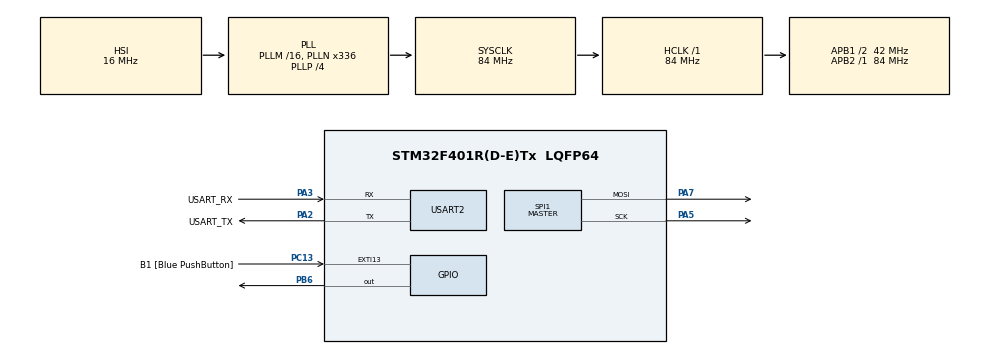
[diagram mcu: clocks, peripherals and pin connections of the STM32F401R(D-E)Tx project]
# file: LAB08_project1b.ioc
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Dma.Request0=SPI1_TX
Dma.SPI1_TX.0.Direction=DMA_MEMORY_TO_PERIPH
Dma.SPI1_TX.0.FIFOMode=DMA_FIFOMODE_DISABLE
Dma.SPI1_TX.0.Instance=DMA2_Stream3
Dma.SPI1_TX.0.MemDataAlignment=DMA_MDATAALIGN_BYTE
Dma.SPI1_TX.0.MemInc=DMA_MINC_ENABLE
Dma.SPI1_TX.0.Mode=DMA_NORMAL
Dma.SPI1_TX.0.PeriphDataAlignment=DMA_PDATAALIGN_BYTE
Dma.SPI1_TX.0.PeriphInc=DMA_PINC_DISABLE
Dma.SPI1_TX.0.Priority=DMA_PRIORITY_LOW
Mcu.Family=STM32F4
Mcu.Name=STM32F401R(D-E)Tx
Mcu.Package=LQFP64
NVIC.DMA2_Stream3_IRQn=true\:0\:0\:false\:false\:true\:false\:true\:true
NVIC.PriorityGroup=NVIC_PRIORITYGROUP_0
NVIC.SPI1_IRQn=true\:0\:0\:false\:false\:true\:true\:true\:true
NVIC.TIM3_IRQn=true\:0\:0\:false\:false\:true\:true\:true\:true
PA13.GPIO_Label=TMS
PA13.Mode=Serial_Wire
PA13.Signal=SYS_JTMS-SWDIO
PA14.GPIO_Label=TCK
PA14.Mode=Serial_Wire
PA14.Signal=SYS_JTCK-SWCLK
PA2.GPIO_Label=USART_TX
PA2.GPIO_Mode=GPIO_MODE_AF_PP
PA2.GPIO_PuPd=GPIO_NOPULL
PA2.GPIO_Speed=GPIO_SPEED_FREQ_LOW
PA2.Mode=Asynchronous
PA2.Signal=USART2_TX
PA3.GPIO_Label=USART_RX
PA3.GPIO_Mode=GPIO_MODE_AF_PP
PA3.GPIO_PuPd=GPIO_NOPULL
PA3.GPIO_Speed=GPIO_SPEED_FREQ_LOW
PA3.Mode=Asynchronous
PA3.Signal=USART2_RX
PA5.Mode=TX_Only_Simplex_Unidirect_Master
PA5.Signal=SPI1_SCK
PA7.Mode=TX_Only_Simplex_Unidirect_Master
PA7.Signal=SPI1_MOSI
PB3.GPIO_Label=SWO
PB3.Signal=SYS_JTDO-SWO
PB6.Signal=GPIO_Output
PC13-ANTI_TAMP.GPIO_Label=B1 [Blue PushButton]
PC13-ANTI_TAMP.GPIO_ModeDefaultEXTI=GPIO_MODE_IT_FALLING
PC13-ANTI_TAMP.GPIO_PuPd=GPIO_NOPULL
PC13-ANTI_TAMP.Signal=GPXTI13
PC14-OSC32_IN.Mode=LSE-External-Oscillator
PC14-OSC32_IN.Signal=RCC_OSC32_IN
PC15-OSC32_OUT.Mode=LSE-External-Oscillator
PC15-OSC32_OUT.Signal=RCC_OSC32_OUT
PH0\ -\ OSC_IN.Mode=HSE-External-Clock-Source
PH0\ -\ OSC_IN.Signal=RCC_OSC_IN
PH1\ -\ OSC_OUT.Mode=HSE-External-Clock-Source
PH1\ -\ OSC_OUT.Signal=RCC_OSC_OUT
ProjectManager.HeapSize=0x200
ProjectManager.StackSize=0x400
ProjectManager.TargetToolchain=STM32CubeIDE
RCC.48MHZClocksFreq_Value=48000000
RCC.AHBFreq_Value=84000000
RCC.APB1CLKDivider=RCC_HCLK_DIV2
RCC.APB1Freq_Value=42000000
RCC.APB1TimFreq_Value=84000000
RCC.APB2Freq_Value=84000000
RCC.APB2TimFreq_Value=84000000
RCC.CortexFreq_Value=84000000
RCC.HCLKFreq_Value=84000000
RCC.HSE_VALUE=8000000
RCC.HSI_VALUE=16000000
RCC.PLLN=336
RCC.PLLP=RCC_PLLP_DIV4
RCC.PLLQ=7
RCC.SYSCLKFreq_VALUE=84000000
RCC.SYSCLKSource=RCC_SYSCLKSOURCE_PLLCLK
RCC.VCOOutputFreq_Value=336000000
SPI1.BaudRatePrescaler=SPI_BAUDRATEPRESCALER_4
SPI1.Direction=SPI_DIRECTION_2LINES
SPI1.Mode=SPI_MODE_MASTER
SPI1.VirtualType=VM_MASTER
TIM3.Period=40-1
TIM3.Prescaler=8400-1
TIM3.TIM_MasterOutputTrigger=TIM_TRGO_RESET
TIM3.TIM_MasterSlaveMode=TIM_MASTERSLAVEMODE_DISABLE
USART2.VirtualMode=VM_ASYNC
VP_TIM3_VS_ClockSourceINT.Mode=Internal
board=NUCLEO-F401RE

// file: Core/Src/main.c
/* USER CODE BEGIN Header */
/**
  ******************************************************************************
  * @file           : main.c
  * @brief          : Main program body
  ******************************************************************************
  * @attention
  *
  * Copyright (c) 2023 STMicroelectronics.
  * All rights reserved.
  *
  * This software is licensed under terms that can be found in the LICENSE file
  * in the root directory of this software component.
  * If no LICENSE file comes with this software, it is provided AS-IS.
  *
  ******************************************************************************
  */
/* USER CODE END Header */
#include "main.h"

SPI_HandleTypeDef hspi1;
DMA_HandleTypeDef hdma_spi1_tx;

TIM_HandleTypeDef htim3;

UART_HandleTypeDef huart2;

void SystemClock_Config(void);
static void MX_GPIO_Init(void);
static void MX_DMA_Init(void);
static void MX_USART2_UART_Init(void);
static void MX_SPI1_Init(void);
static void MX_TIM3_Init(void);

/* USER CODE BEGIN 0 */
int column_shift=0;
int counter_cycle=0;
int flag_E=1;
int flag_L=0;
uint8_t matrix_EL[10][2]= {
		{127, 16},
		{73, 8},
		{73, 4},
		{65, 2},
		{65, 1},
		{127, 16},
		{1, 8},
		{1, 4},
		{1, 2},
		{1, 1},
};
/* USER CODE END 0 */

int main(void)
{

  /* MCU Configuration--------------------------------------------------------*/

  /* Reset of all peripherals, Initializes the Flash interface and the Systick. */
  HAL_Init();

  /* Configure the system clock */
  SystemClock_Config();

  /* Initialize all configured peripherals */
  MX_GPIO_Init();
  MX_DMA_Init();
  MX_USART2_UART_Init();
  MX_SPI1_Init();
  MX_TIM3_Init();
  /* USER CODE BEGIN 2 */
  HAL_TIM_Base_Start_IT(&htim3);

  /* USER CODE END 2 */

  /* Infinite loop */
  while (1)
  {

  }
}

void SystemClock_Config(void)
{
  RCC_OscInitTypeDef RCC_OscInitStruct = {0};
  RCC_ClkInitTypeDef RCC_ClkInitStruct = {0};

  /** Configure the main internal regulator output voltage
  */
  __HAL_RCC_PWR_CLK_ENABLE();
  __HAL_PWR_VOLTAGESCALING_CONFIG(PWR_REGULATOR_VOLTAGE_SCALE2);

  /** Initializes the RCC Oscillators according to the specified parameters
  * in the RCC_OscInitTypeDef structure.
  */
  RCC_OscInitStruct.OscillatorType = RCC_OSCILLATORTYPE_HSI;
  RCC_OscInitStruct.HSIState = RCC_HSI_ON;
  RCC_OscInitStruct.HSICalibrationValue = RCC_HSICALIBRATION_DEFAULT;
  RCC_OscInitStruct.PLL.PLLState = RCC_PLL_ON;
  RCC_OscInitStruct.PLL.PLLSource = RCC_PLLSOURCE_HSI;
  RCC_OscInitStruct.PLL.PLLM = 16;
  RCC_OscInitStruct.PLL.PLLN = 336;
  RCC_OscInitStruct.PLL.PLLP = RCC_PLLP_DIV4;
  RCC_OscInitStruct.PLL.PLLQ = 7;
  if (HAL_RCC_OscConfig(&RCC_OscInitStruct) != HAL_OK)
  {
    Error_Handler();
  }

  /** Initializes the CPU, AHB and APB buses clocks
  */
  RCC_ClkInitStruct.ClockType = RCC_CLOCKTYPE_HCLK|RCC_CLOCKTYPE_SYSCLK
                              |RCC_CLOCKTYPE_PCLK1|RCC_CLOCKTYPE_PCLK2;
  RCC_ClkInitStruct.SYSCLKSource = RCC_SYSCLKSOURCE_PLLCLK;
  RCC_ClkInitStruct.AHBCLKDivider = RCC_SYSCLK_DIV1;
  RCC_ClkInitStruct.APB1CLKDivider = RCC_HCLK_DIV2;
  RCC_ClkInitStruct.APB2CLKDivider = RCC_HCLK_DIV1;

  if (HAL_RCC_ClockConfig(&RCC_ClkInitStruct, FLASH_LATENCY_2) != HAL_OK)
  {
    Error_Handler();
  }
}

static void MX_SPI1_Init(void)
{

  /* SPI1 parameter configuration*/
  hspi1.Instance = SPI1;
  hspi1.Init.Mode = SPI_MODE_MASTER;
  hspi1.Init.Direction = SPI_DIRECTION_2LINES;
  hspi1.Init.DataSize = SPI_DATASIZE_8BIT;
  hspi1.Init.CLKPolarity = SPI_POLARITY_LOW;
  hspi1.Init.CLKPhase = SPI_PHASE_1EDGE;
  hspi1.Init.NSS = SPI_NSS_SOFT;
  hspi1.Init.BaudRatePrescaler = SPI_BAUDRATEPRESCALER_4;
  hspi1.Init.FirstBit = SPI_FIRSTBIT_MSB;
  hspi1.Init.TIMode = SPI_TIMODE_DISABLE;
  hspi1.Init.CRCCalculation = SPI_CRCCALCULATION_DISABLE;
  hspi1.Init.CRCPolynomial = 10;
  if (HAL_SPI_Init(&hspi1) != HAL_OK)
  {
    Error_Handler();
  }

}

static void MX_TIM3_Init(void)
{

  TIM_ClockConfigTypeDef sClockSourceConfig = {0};
  TIM_MasterConfigTypeDef sMasterConfig = {0};

  htim3.Instance = TIM3;
  htim3.Init.Prescaler = 8400-1;
  htim3.Init.CounterMode = TIM_COUNTERMODE_UP;
  htim3.Init.Period = 40-1;
  htim3.Init.ClockDivision = TIM_CLOCKDIVISION_DIV1;
  htim3.Init.AutoReloadPreload = TIM_AUTORELOAD_PRELOAD_DISABLE;
  if (HAL_TIM_Base_Init(&htim3) != HAL_OK)
  {
    Error_Handler();
  }
  sClockSourceConfig.ClockSource = TIM_CLOCKSOURCE_INTERNAL;
  if (HAL_TIM_ConfigClockSource(&htim3, &sClockSourceConfig) != HAL_OK)
  {
    Error_Handler();
  }
  sMasterConfig.MasterOutputTrigger = TIM_TRGO_RESET;
  sMasterConfig.MasterSlaveMode = TIM_MASTERSLAVEMODE_DISABLE;
  if (HAL_TIMEx_MasterConfigSynchronization(&htim3, &sMasterConfig) != HAL_OK)
  {
    Error_Handler();
  }

}

static void MX_USART2_UART_Init(void)
{

  huart2.Instance = USART2;
  huart2.Init.BaudRate = 115200;
  huart2.Init.WordLength = UART_WORDLENGTH_8B;
  huart2.Init.StopBits = UART_STOPBITS_1;
  huart2.Init.Parity = UART_PARITY_NONE;
  huart2.Init.Mode = UART_MODE_TX_RX;
  huart2.Init.HwFlowCtl = UART_HWCONTROL_NONE;
  huart2.Init.OverSampling = UART_OVERSAMPLING_16;
  if (HAL_UART_Init(&huart2) != HAL_OK)
  {
    Error_Handler();
  }

}

static void MX_DMA_Init(void)
{

  /* DMA controller clock enable */
  __HAL_RCC_DMA2_CLK_ENABLE();

  /* DMA interrupt init */
  /* DMA2_Stream3_IRQn interrupt configuration */
  HAL_NVIC_SetPriority(DMA2_Stream3_IRQn, 0, 0);
  HAL_NVIC_EnableIRQ(DMA2_Stream3_IRQn);

}

static void MX_GPIO_Init(void)
{
  GPIO_InitTypeDef GPIO_InitStruct = {0};

  /* GPIO Ports Clock Enable */
  __HAL_RCC_GPIOC_CLK_ENABLE();
  __HAL_RCC_GPIOH_CLK_ENABLE();
  __HAL_RCC_GPIOA_CLK_ENABLE();
  __HAL_RCC_GPIOB_CLK_ENABLE();

  /*Configure GPIO pin Output Level */
  HAL_GPIO_WritePin(GPIOB, GPIO_PIN_6, GPIO_PIN_RESET);

  /*Configure GPIO pin : B1_Pin */
  GPIO_InitStruct.Pin = B1_Pin;
  GPIO_InitStruct.Mode = GPIO_MODE_IT_FALLING;
  GPIO_InitStruct.Pull = GPIO_NOPULL;
  HAL_GPIO_Init(B1_GPIO_Port, &GPIO_InitStruct);

  /*Configure GPIO pin : PB6 */
  GPIO_InitStruct.Pin = GPIO_PIN_6;
  GPIO_InitStruct.Mode = GPIO_MODE_OUTPUT_PP;
  GPIO_InitStruct.Pull = GPIO_NOPULL;
  GPIO_InitStruct.Speed = GPIO_SPEED_FREQ_LOW;
  HAL_GPIO_Init(GPIOB, &GPIO_InitStruct);

}

/* USER CODE BEGIN 4 */

void HAL_TIM_PeriodElapsedCallback (TIM_HandleTypeDef *htim){
	if(htim==&htim3){
		HAL_SPI_Transmit_DMA(&hspi1, matrix_EL[column_shift], 2);
		// entro qui quando ha trasmesso una colonna
		//HAL_GPIO_WritePin(GPIOB, GPIO_PIN_6, GPIO_PIN_SET);
		// incremento il counter delle colonne
		column_shift++;
		//HAL_GPIO_WritePin(GPIOB, GPIO_PIN_6, GPIO_PIN_RESET);

		if(column_shift==5 && flag_E==1){
			// entro qui quando ha finito di trasmettere la prima lettera
			// faccio ricominciare per ripetere la prima lettera alemno per tot cicli altrimenti non percepisco
			counter_cycle++;
			column_shift=0;
		}

		if(counter_cycle==50 && flag_E==1){
			//finiti i cicli della seconda lettera passo alla seconda
			// quindi azzero conteggi cicli e parto dalla sesta
			counter_cycle=0;
			column_shift=5; //se devo passare alla seconda
			flag_E=0;
			flag_L=1;
		}

		if(column_shift==10 && flag_L==1){
			//entro qui quando ha finito di trasmettere la seconda
			//voglio far ricominciare la seconda lettera per tot cicli
			counter_cycle++;
			column_shift=5;
		}

		if(counter_cycle==50 && flag_L==1){
			counter_cycle=0;
			column_shift=0; //se devo ricominciare con la prima
			flag_L=0;
			flag_E=1;

		}

	}

}

void HAL_SPI_TxCpltCallback (SPI_HandleTypeDef * hspi){
	HAL_GPIO_WritePin(GPIOB, GPIO_PIN_6, GPIO_PIN_SET);
	HAL_GPIO_WritePin(GPIOB, GPIO_PIN_6, GPIO_PIN_RESET);
}
/* USER CODE END 4 */

void Error_Handler(void)
{
  __disable_irq();
  while (1)
  {
  }
}
